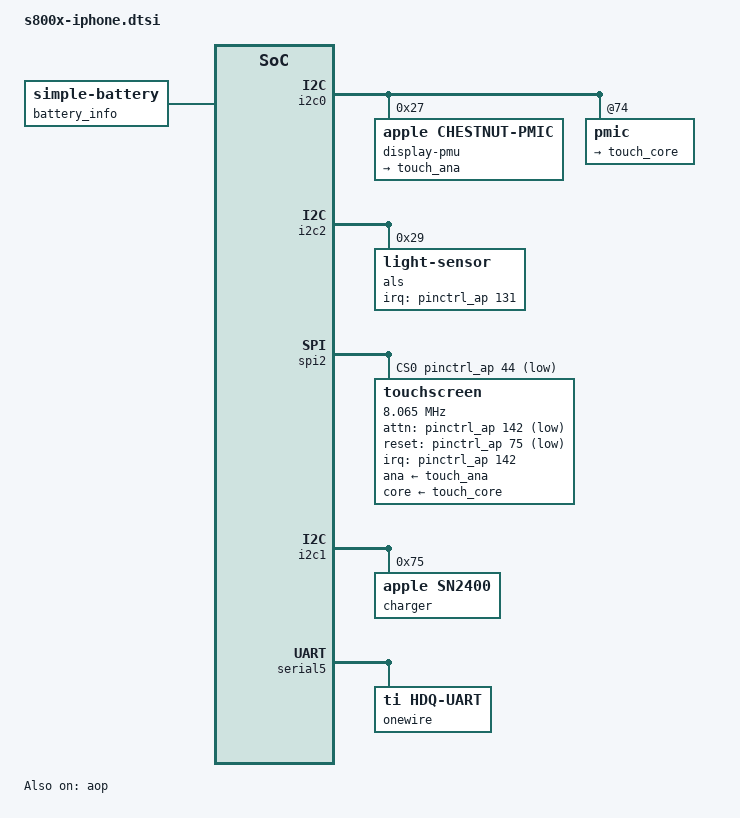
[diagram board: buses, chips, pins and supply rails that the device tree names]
// SPDX-License-Identifier: GPL-2.0+ OR MIT
/*
 * Touchscreen, ambient light sensor, panel link and D2255 GPIOs of the A9
 * iPhones
 *
 * The IPSW device trees of N66, N66m, N71, N71m, N69 and N69u wire both
 * the same way: the touch controller on SPI2 with the same GPIOs, bit
 * period and supplies, the light sensor at 0x29 on I2C2. The model files
 * name the controller, its firmware and size, and the sensor.
 */

/ {
	aliases {
		als0 = &als;	/* the loader copies the ADT's alsCalibration here */
		spi2 = &spi2;
		touchscreen0 = &touchscreen;	/* the loader copies the ADT calibration */
		serial5 = &serial5;	/* the gauge's HDQ UART: a fixed port, as on the iPad 5 */
	};
};

&i2c0 {
	/* ADT display-pmu,chestnut @0x27: touch power_ana = dpLE(0x302) */
	display-pmu@27 {
		compatible = "apple,chestnut-pmic";
		reg = <0x27>;

		touch_ana: regulator-touch-hv {
			compatible = "apple,chestnut-touch-hv-regulator";
			regulator-name = "touch-analog";
		};
	};

	pmic@74 {
		/* ADT multi-touch power_ldo = pmuL(0x219) */
		touch_core: regulator-touch-core {
			compatible = "apple,antigua-touch-core-regulator";
			regulator-name = "touch-core";
		};

		/*
		 * Every A9 iPhone's D2255 (pmu,d2255) switches Bluetooth power
		 * on line 8 and Wi-Fi REG_ON on line 10; the other lines stay
		 * as iBoot left them.
		 */
		pmu_gpio: gpio {
			compatible = "apple,d2255-pmic-gpio";
			gpio-controller;
			#gpio-cells = <2>;
			gpio-reserved-ranges = <0 8>, <9 1>, <11 10>;
		};
	};
};

&i2c2 {
	status = "okay";

	/* ADT i2c2/als @0x29, interrupt AP GPIO 131 */
	als: light-sensor@29 {
		reg = <0x29>;
		interrupts-extended = <&pinctrl_ap 131 IRQ_TYPE_LEVEL_LOW>;
	};
};

/* ADT /arm-io/spi2/multi-touch */
&spi2 {
	cs-gpios = <&pinctrl_ap 44 GPIO_ACTIVE_LOW>;	/* function-enable_cs */
	status = "okay";

	touchscreen: touchscreen@0 {
		reg = <0>;
		spi-max-frequency = <8064516>;		/* ADT 124 ns bit period */
		interrupts-extended = <&pinctrl_ap 142 IRQ_TYPE_EDGE_FALLING>;
		attn-gpios = <&pinctrl_ap 142 GPIO_ACTIVE_LOW>;
		reset-gpios = <&pinctrl_ap 75 GPIO_ACTIVE_LOW>;	/* function-reset */
		ana-supply = <&touch_ana>;
		core-supply = <&touch_core>;
		clocks = <&touchclk>;
		touchscreen-inverted-y;
	};
};

&touchclk {
	status = "okay";
};

/* The panel link is MIPI DSI (ADT mipi-dsim), as the boot framebuffer has it */
&disp0 {
	power-domains = <&ps_disp0>, <&ps_mipi_dsi>;
};

/*
 * Battery and charger, the same on the iPhone 6s, 6s Plus and SE (iOS
 * 15.8.8 DeviceTree.n66ap, n71ap, n69uap): an SN2400 charger at i2c1 0x75
 * owns the battery's HDQ line, and the bq27540 gauge answers on uart5
 * (function-battery_swi, AP GPIO 2), as on the iPhone 7. Each model sets
 * its own charge current: the first entry of its ADT charger charge-limits.
 */
/ {
	battery_info: battery {
		compatible = "simple-battery";
		/*
		 * The charger's input follows the battery temperature: off
		 * outside 0..45 C, reduced outside 10..40 C. The ADT gives no
		 * limits; these are the usual ones for Li-ion cells, inside
		 * the JEITA charging guideline (no charge below 0 C, reduced
		 * current from 0 to 10 C, normal from 10 to 45 C), with 40 to
		 * 45 C also reduced as a margin.
		 */
		operating-range-celsius = <0 45>;
		alert-celsius = <10 40>;
	};
};

&i2c1 {
	status = "okay";

	charger@75 {
		compatible = "apple,sn2400";
		reg = <0x75>;

		sn2400_charger: charger {
			compatible = "apple,sn2400-charger";
			monitored-battery = <&battery_info>;
			/* ADT charger usb-input-limit-max */
			input-current-limit-microamp = <2000000>;
			mux-states = <&hdq_mux 0>;
			mux-state-names = "hdq";
		};

		hdq_mux: hdq-mux {
			compatible = "apple,sn2400-hdq-mux";
			#mux-state-cells = <1>;
		};
	};
};

&pinctrl_ap {
	battery_swi_pins: battery-swi-pins {
		pinmux = <APPLE_PINMUX(2, 1)>;
	};
};

&serial5 {
	pinctrl-0 = <&battery_swi_pins>;
	pinctrl-names = "default";
	status = "okay";

	onewire {
		compatible = "ti,hdq-uart";
		mux-states = <&hdq_mux 1>;
		mux-state-names = "hdq";

		fuel-gauge {
			compatible = "ti,bq27540-hdq";
			monitored-battery = <&battery_info>;
		};
	};
};

/*
 * Apple's A9 iPhone AOP firmware (aopfw-s8000aop) serves the accelerometer,
 * gyroscope and pressure sensor.
 */
&aop {
	firmware-name = "apple/aop-s8000.bin", "apple/aop-s8000-ext.bin";
	status = "okay";
};

&aop_mbox {
	status = "okay";
};

/*
 * Measured on an iPhone 6s Plus: the firmware reports on the device's axes
 * (x right, y up, z out of the screen) with the accelerometer giving
 * gravity's sign, as on the iPad 5, so the matrices hold for every A9 iPhone.
 */
&aop_accel {
	mount-matrix = "1", "0", "0",
		       "0", "1", "0",
		       "0", "0", "-1";
};

&aop_gyro {
	mount-matrix = "1", "0", "0",
		       "0", "1", "0",
		       "0", "0", "1";
};

/* The USB device controller tells the SN2400 driver what the USB host allows. */
&usbdev {
	usb-psy-name = "usb";
};
